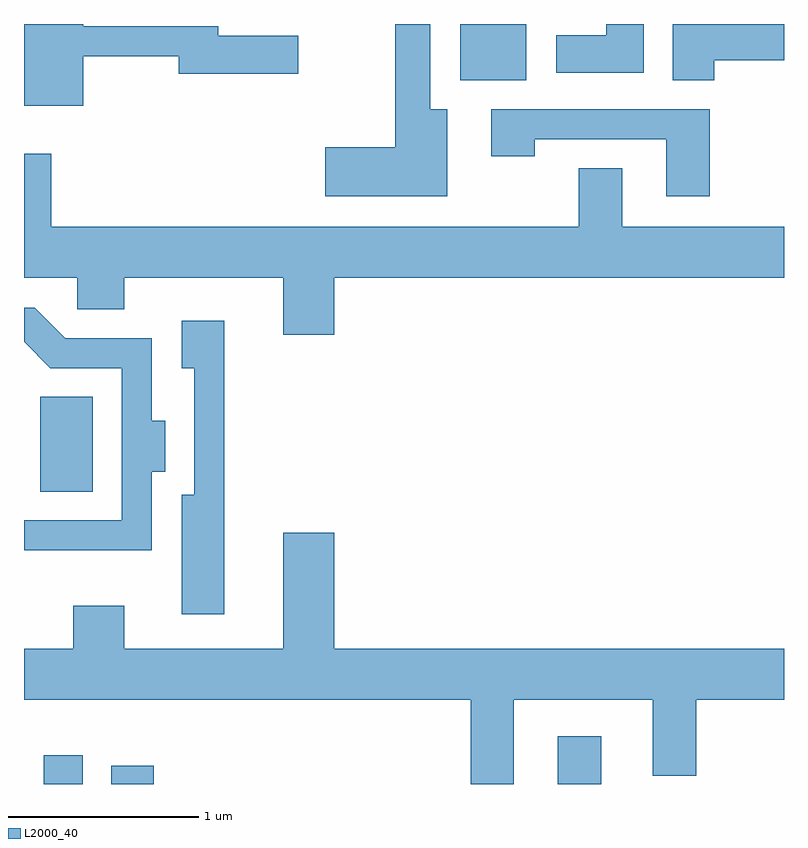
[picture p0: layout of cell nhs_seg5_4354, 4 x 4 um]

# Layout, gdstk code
import gdstk
lib = gdstk.Library(unit=1e-6, precision=1e-09)
def R(c, l, rs):  # rectangles x0, y0, x1, y1
    for r in rs: c.add(gdstk.rectangle(r[:2], r[2:], *l))
def P(c, l, *ps):  # polygons
    for p in ps: c.add(gdstk.Polygon(p, *l))
L2000_40 = (2000, 40)

nhs_seg5_4354 = lib.new_cell('nhs_seg5_4354')
R(nhs_seg5_4354, L2000_40, [(313.716,1514.072,313.919,1514.224), (314.071,1514.072,314.294,1514.169), (316.421,1514.072,316.649,1514.324), (313.696,1515.611,313.974,1516.109), (315.906,1517.776,316.254,1518.072)])
P(nhs_seg5_4354, L2000_40, [(315.839,1517.624),(315.749,1517.624),(315.749,1518.072),(315.566,1518.072),(315.566,1517.424),(315.196,1517.424),(315.196,1517.166),(315.839,1517.166)],
  [(317.244,1517.881),(317.611,1517.881),(317.611,1518.072),(317.026,1518.072),(317.026,1517.776),(317.244,1517.776)],
  [(313.924,1517.901),(314.426,1517.901),(314.426,1517.811),(315.054,1517.811),(315.054,1518.009),(314.634,1518.009),(314.634,1518.059),(313.924,1518.059),(313.924,1518.072),(313.611,1518.072),(313.611,1517.641),(313.924,1517.641)],
  [(316.874,1518.072),(316.676,1518.072),(316.676,1518.014),(316.411,1518.014),(316.411,1517.816),(316.874,1517.816)],
  [(317.219,1517.624),(316.071,1517.624),(316.071,1517.376),(316.299,1517.376),(316.299,1517.466),(316.991,1517.466),(316.991,1517.166),(317.219,1517.166)],
  [(315.244,1516.736),(317.611,1516.736),(317.611,1517.004),(316.759,1517.004),(316.759,1517.314),(316.531,1517.314),(316.531,1517.004),(313.754,1517.004),(313.754,1517.388),(313.611,1517.388),(313.611,1516.736),(313.891,1516.736),(313.891,1516.571),(314.139,1516.571),(314.139,1516.736),(314.976,1516.736),(314.976,1516.436),(315.244,1516.436)],
  [(314.284,1515.716),(314.354,1515.716),(314.354,1515.984),(314.284,1515.984),(314.284,1516.419),(313.827,1516.419),(313.667,1516.579),(313.611,1516.579),(313.611,1516.399),(313.749,1516.261),(314.126,1516.261),(314.126,1515.459),(313.611,1515.459),(313.611,1515.301),(314.284,1515.301)],
  [(314.664,1516.509),(314.441,1516.509),(314.441,1516.261),(314.506,1516.261),(314.506,1515.594),(314.441,1515.594),(314.441,1514.966),(314.664,1514.966)],
  [(316.189,1514.516),(316.921,1514.516),(316.921,1514.116),(317.149,1514.116),(317.149,1514.516),(317.611,1514.516),(317.611,1514.784),(315.244,1514.784),(315.244,1515.394),(314.976,1515.394),(314.976,1514.784),(314.139,1514.784),(314.139,1515.009),(313.871,1515.009),(313.871,1514.784),(313.611,1514.784),(313.611,1514.516),(315.961,1514.516),(315.961,1514.072),(316.189,1514.072)])

lib.write_gds('nhs_seg5_4354.gds')
